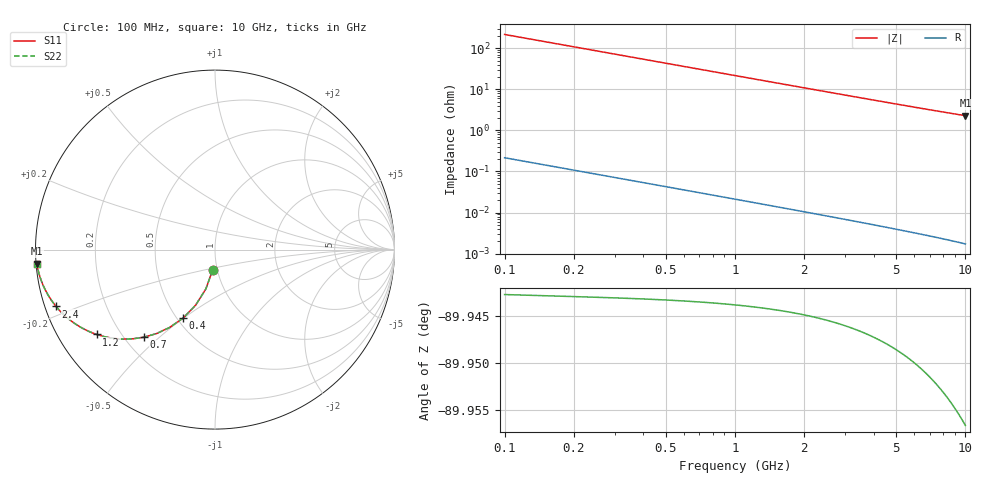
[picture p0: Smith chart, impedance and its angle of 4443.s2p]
# Hz S RI R 50.00
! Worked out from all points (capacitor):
!   100 points, 100 MHz to 10 GHz, reference 50 ohm
!   read as one part in shunt: C = 7.38 pF near 100 MHz
!   lowest |Z| = 2.28 ohm at 10 GHz (marker M1)
!   S11 on the Smith chart (normalised r, x): 100 MHz: 0.95, -0.22; 400 MHz: 0.54, -0.50; 700 MHz: 0.28, -0.45; 1.2 GHz: 0.11, -0.32; 2.4 GHz: 0.03, -0.17; 10 GHz: 0.00, -0.04
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1e8  -0.0134 -0.1144  0.9866 -0.1145  0.9866 -0.1145  -0.0134 -0.1144
2e8  -0.0513 -0.2199  0.9487 -0.2202  0.9487 -0.2202  -0.0513 -0.2199
3e8  -0.1082 -0.31  0.8917 -0.3104  0.8917 -0.3104  -0.1082 -0.31
4e8  -0.1774 -0.3813  0.8226 -0.3817  0.8226 -0.3817  -0.1774 -0.3813
5e8  -0.2519 -0.4333  0.7481 -0.4339  0.7481 -0.4339  -0.2519 -0.4333
6e8  -0.3264 -0.4681  0.6735 -0.4687  0.6735 -0.4687  -0.3264 -0.4681
7e8  -0.3973 -0.4885  0.6026 -0.4892  0.6026 -0.4892  -0.3973 -0.4885
9e8  -0.5213 -0.4985  0.4786 -0.4996  0.4786 -0.4996  -0.5213 -0.4985
1e9  -0.5734 -0.4935  0.4265 -0.4946  0.4265 -0.4946  -0.5734 -0.4935
1.2e9  -0.6592 -0.4728  0.3407 -0.4741  0.3407 -0.4741  -0.6592 -0.4728
1.3e9  -0.6942 -0.4595  0.3058 -0.461  0.3058 -0.461  -0.6942 -0.4595
1.5e9  -0.7513 -0.4309  0.2487 -0.4326  0.2487 -0.4326  -0.7513 -0.4309
1.8e9  -0.813 -0.3884  0.187 -0.3905  0.187 -0.3905  -0.813 -0.3884
2.1e9  -0.8553 -0.35  0.1446 -0.3524  0.1446 -0.3524  -0.8553 -0.35
2.4e9  -0.8853 -0.3168  0.1147 -0.3195  0.1147 -0.3195  -0.8853 -0.3168
2.9e9  -0.9184 -0.2715  0.0815 -0.2748  0.0815 -0.2748  -0.9184 -0.2715
3.4e9  -0.9393 -0.2363  0.0607 -0.2402  0.0607 -0.2402  -0.9393 -0.2363
4.2e9  -0.9593 -0.1945  0.0406 -0.1994  0.0406 -0.1994  -0.9593 -0.1945
5.1e9  -0.972 -0.1613  0.0279 -0.1672  0.0279 -0.1672  -0.972 -0.1613
6.7e9  -0.9836 -0.1223  0.0163 -0.1301  0.0163 -0.1301  -0.9836 -0.1223
8.4e9  -0.9896 -0.0959  0.0103 -0.1058  0.0103 -0.1058  -0.9896 -0.0959
1e10  -0.9926 -0.0786  0.00723 -0.0905  0.00723 -0.0905  -0.9926 -0.0786
